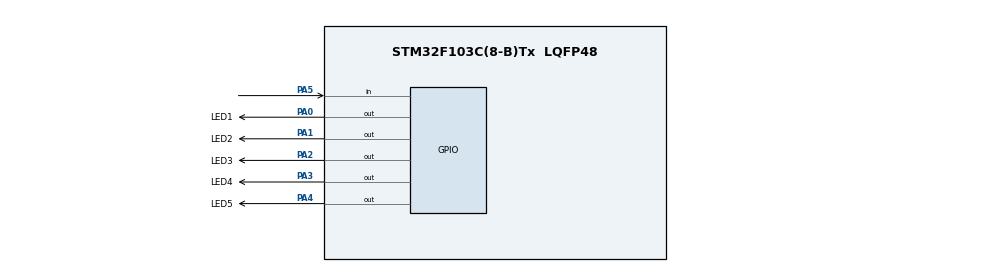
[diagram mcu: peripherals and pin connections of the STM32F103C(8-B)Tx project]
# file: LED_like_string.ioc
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Mcu.Family=STM32F1
Mcu.Name=STM32F103C(8-B)Tx
Mcu.Package=LQFP48
NVIC.PriorityGroup=NVIC_PRIORITYGROUP_4
PA0-WKUP.GPIO_Label=LED1
PA0-WKUP.Signal=GPIO_Output
PA1.GPIO_Label=LED2
PA1.Signal=GPIO_Output
PA13.Mode=Serial_Wire
PA13.Signal=SYS_JTMS-SWDIO
PA14.Mode=Serial_Wire
PA14.Signal=SYS_JTCK-SWCLK
PA2.GPIO_Label=LED3
PA2.Signal=GPIO_Output
PA3.GPIO_Label=LED4
PA3.Signal=GPIO_Output
PA4.GPIO_Label=LED5
PA4.Signal=GPIO_Output
PA5.GPIO_PuPd=GPIO_PULLUP
PA5.Signal=GPIO_Input
ProjectManager.HeapSize=0x200
ProjectManager.StackSize=0x400
ProjectManager.TargetToolchain=MDK-ARM V5.32
RCC.APB1Freq_Value=8000000
RCC.APB2Freq_Value=8000000
board=custom

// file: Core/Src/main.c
/* USER CODE BEGIN Header */
/**
  ******************************************************************************
  * @file           : main.c
  * @brief          : Main program body
  ******************************************************************************
  * @attention
  *
  * Copyright (c) 2026 STMicroelectronics.
  * All rights reserved.
  *
  * This software is licensed under terms that can be found in the LICENSE file
  * in the root directory of this software component.
  * If no LICENSE file comes with this software, it is provided AS-IS.
  *
  ******************************************************************************
  */
/* USER CODE END Header */
#include "main.h"

void SystemClock_Config(void);
static void MX_GPIO_Init(void);

int main(void)
{

  /* MCU Configuration--------------------------------------------------------*/

  /* Reset of all peripherals, Initializes the Flash interface and the Systick. */
  HAL_Init();

  /* Configure the system clock */
  SystemClock_Config();

  /* Initialize all configured peripherals */
  MX_GPIO_Init();
  /* USER CODE BEGIN 2 */
    uint8_t mode = 0;
  /* USER CODE END 2 */

  /* Infinite loop */
  /* USER CODE BEGIN WHILE */
  while (1)
  {

      if (HAL_GPIO_ReadPin(GPIOA, GPIO_PIN_5) == GPIO_PIN_RESET)
      {
          mode++;
          if (mode > 2) mode = 0;
          HAL_Delay(300);
      }

      if (mode == 0)
      {
          HAL_GPIO_WritePin(GPIOA, GPIO_PIN_0, GPIO_PIN_SET); HAL_Delay(100); HAL_GPIO_WritePin(GPIOA, GPIO_PIN_0, GPIO_PIN_RESET);
          HAL_GPIO_WritePin(GPIOA, GPIO_PIN_1, GPIO_PIN_SET); HAL_Delay(100); HAL_GPIO_WritePin(GPIOA, GPIO_PIN_1, GPIO_PIN_RESET);
          HAL_GPIO_WritePin(GPIOA, GPIO_PIN_2, GPIO_PIN_SET); HAL_Delay(100); HAL_GPIO_WritePin(GPIOA, GPIO_PIN_2, GPIO_PIN_RESET);
          HAL_GPIO_WritePin(GPIOA, GPIO_PIN_3, GPIO_PIN_SET); HAL_Delay(100); HAL_GPIO_WritePin(GPIOA, GPIO_PIN_3, GPIO_PIN_RESET);
          HAL_GPIO_WritePin(GPIOA, GPIO_PIN_4, GPIO_PIN_SET); HAL_Delay(100); HAL_GPIO_WritePin(GPIOA, GPIO_PIN_4, GPIO_PIN_RESET);
      }
      else if (mode == 1)
      {
          HAL_GPIO_WritePin(GPIOA, GPIO_PIN_0 | GPIO_PIN_2 | GPIO_PIN_4, GPIO_PIN_SET);
          HAL_GPIO_WritePin(GPIOA, GPIO_PIN_1 | GPIO_PIN_3, GPIO_PIN_RESET);
          HAL_Delay(100);

          HAL_GPIO_WritePin(GPIOA, GPIO_PIN_0 | GPIO_PIN_2 | GPIO_PIN_4, GPIO_PIN_RESET);
          HAL_GPIO_WritePin(GPIOA, GPIO_PIN_1 | GPIO_PIN_3, GPIO_PIN_SET);
          HAL_Delay(100);
      }
      else if (mode == 2)
      {
          HAL_GPIO_WritePin(GPIOA, GPIO_PIN_0 | GPIO_PIN_1 | GPIO_PIN_2 | GPIO_PIN_3 | GPIO_PIN_4, GPIO_PIN_SET);
          HAL_Delay(100);
          HAL_GPIO_WritePin(GPIOA, GPIO_PIN_0 | GPIO_PIN_1 | GPIO_PIN_2 | GPIO_PIN_3 | GPIO_PIN_4, GPIO_PIN_RESET);
          HAL_Delay(100);

}
			}
		}
    /* USER CODE END WHILE */

void SystemClock_Config(void)
{
  RCC_OscInitTypeDef RCC_OscInitStruct = {0};
  RCC_ClkInitTypeDef RCC_ClkInitStruct = {0};

  /** Initializes the RCC Oscillators according to the specified parameters
  * in the RCC_OscInitTypeDef structure.
  */
  RCC_OscInitStruct.OscillatorType = RCC_OSCILLATORTYPE_HSI;
  RCC_OscInitStruct.HSIState = RCC_HSI_ON;
  RCC_OscInitStruct.HSICalibrationValue = RCC_HSICALIBRATION_DEFAULT;
  RCC_OscInitStruct.PLL.PLLState = RCC_PLL_NONE;
  if (HAL_RCC_OscConfig(&RCC_OscInitStruct) != HAL_OK)
  {
    Error_Handler();
  }

  /** Initializes the CPU, AHB and APB buses clocks
  */
  RCC_ClkInitStruct.ClockType = RCC_CLOCKTYPE_HCLK|RCC_CLOCKTYPE_SYSCLK
                              |RCC_CLOCKTYPE_PCLK1|RCC_CLOCKTYPE_PCLK2;
  RCC_ClkInitStruct.SYSCLKSource = RCC_SYSCLKSOURCE_HSI;
  RCC_ClkInitStruct.AHBCLKDivider = RCC_SYSCLK_DIV1;
  RCC_ClkInitStruct.APB1CLKDivider = RCC_HCLK_DIV1;
  RCC_ClkInitStruct.APB2CLKDivider = RCC_HCLK_DIV1;

  if (HAL_RCC_ClockConfig(&RCC_ClkInitStruct, FLASH_LATENCY_0) != HAL_OK)
  {
    Error_Handler();
  }
}

static void MX_GPIO_Init(void)
{
  GPIO_InitTypeDef GPIO_InitStruct = {0};

  /* GPIO Ports Clock Enable */
  __HAL_RCC_GPIOA_CLK_ENABLE();

  /*Configure GPIO pin Output Level */
  HAL_GPIO_WritePin(GPIOA, LED1_Pin|LED2_Pin|LED3_Pin|LED4_Pin
                          |LED5_Pin, GPIO_PIN_RESET);

  /*Configure GPIO pins : LED1_Pin LED2_Pin LED3_Pin LED4_Pin
                           LED5_Pin */
  GPIO_InitStruct.Pin = LED1_Pin|LED2_Pin|LED3_Pin|LED4_Pin
                          |LED5_Pin;
  GPIO_InitStruct.Mode = GPIO_MODE_OUTPUT_PP;
  GPIO_InitStruct.Pull = GPIO_NOPULL;
  GPIO_InitStruct.Speed = GPIO_SPEED_FREQ_LOW;
  HAL_GPIO_Init(GPIOA, &GPIO_InitStruct);

  /*Configure GPIO pin : PA5 */
  GPIO_InitStruct.Pin = GPIO_PIN_5;
  GPIO_InitStruct.Mode = GPIO_MODE_INPUT;
  GPIO_InitStruct.Pull = GPIO_PULLUP;
  HAL_GPIO_Init(GPIOA, &GPIO_InitStruct);

}

void Error_Handler(void)
{
  __disable_irq();
  while (1)
  {
  }
}
